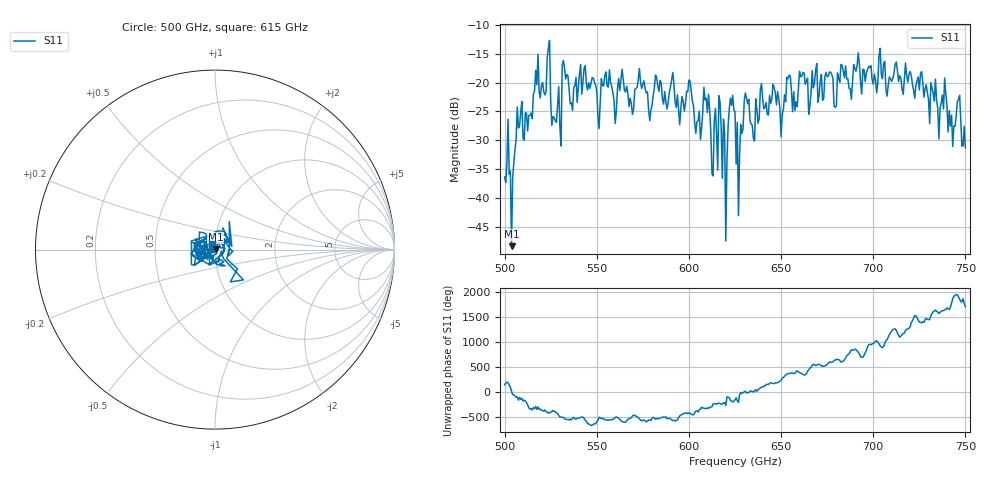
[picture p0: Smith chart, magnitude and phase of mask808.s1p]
!Created with skrf (http://scikit-rf.org).
# GHz S MA R 50.0
!freq magS11 angS11
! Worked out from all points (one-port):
!   401 points, 500 GHz to 750 GHz, reference 50 ohm
!   lowest |S11| = -48.4 dB at 503.8 GHz (marker M1), VSWR 1.01, Z = 50.4 + j0.0942 ohm
!   |S11| at or under -10 dB: start of sweep to end of sweep
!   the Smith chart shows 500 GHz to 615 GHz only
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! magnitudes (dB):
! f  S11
! 500 GHz  -36.4
! 503.8 GHz  -48.4
! 508.1 GHz  -27.6
! 513.8 GHz  -25.7
! 516.9 GHz  -17.9
! 523.8 GHz  -14.0
! 526.9 GHz  -26.1
! 531.2 GHz  -17.0
! 562.5 GHz  -21.4
! 593.8 GHz  -22.1
! 600 GHz  -19.6
! 605 GHz  -26.6
! 609.4 GHz  -22.7
! 612.5 GHz  -35.9
! 617.5 GHz  -27.9
! 619.4 GHz  -28.7
! 622.5 GHz  -22.7
! 625 GHz  -25.0
! 626.9 GHz  -43.1
! 631.2 GHz  -22.7
! 634.4 GHz  -27.4
! 640 GHz  -22.8
! 656.2 GHz  -25.0
! 687.5 GHz  -21.0
! 718.8 GHz  -19.9
! 743.1 GHz  -31.1
! 746.2 GHz  -22.9
! 750 GHz  -31.3
